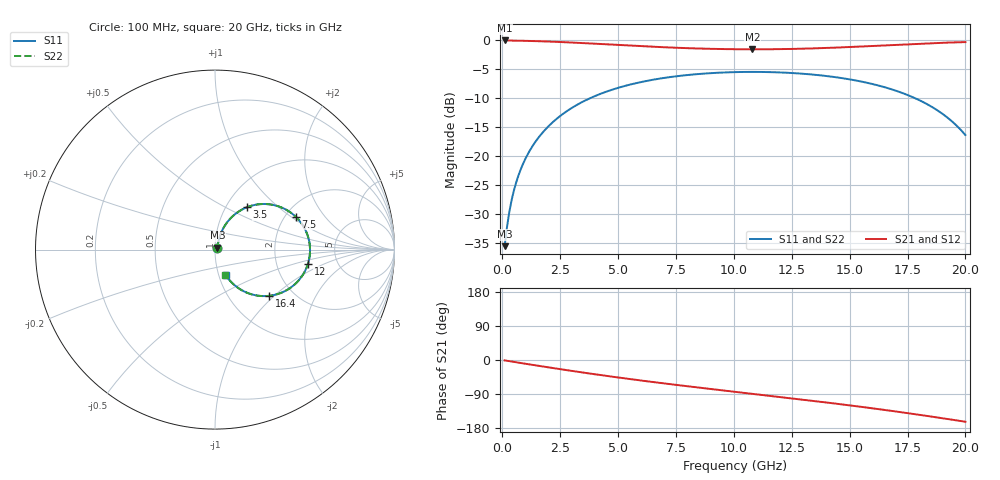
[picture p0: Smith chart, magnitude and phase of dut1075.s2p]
! Touchstone file exported from HFSS 2026.1.0
!  File:  C:/ffzhzh/LocalFiles/Ansys_Project_Files/temp_train_TSV_RDL_1075_1783299730_39728.aedt
!  Generated:  09:12:07 AM Jul  6, 2026
!  Design:  TSV_RDL
!  Project:  temp_train_TSV_RDL_1075_1783299730_39728
! Variables:
!  h_bsmrdl = 2.84um
!  h_ox = 20um
!  h_rdl = 5um
!  h_sub = 89.78um
!  h_tmrdl = 3.41um
!  h_tsv = 89.78um
!  h_via = 3um
!  l_bsmrdl = 503.59um
!  l_sub = 2632.12um
!  l_tmrdl = 145.29um
!  m_sub = 200um
!  pitch = 51.39um
!  r_tsv = 7.49um
!  s_tmrdl = 10um
!  w_bsmrdl = 20.75um
!  w_sub = 500um
!  w_tmrdl = 25.98um
!  x_tsv_center1 = 158.28um
!  x_tsv_center2 = 682.62um
!  x_tsv_center3 = 853.89um
!  x_tsv_center4 = 1378.23um
!  x_tsv_center5 = 1549.5um
!  x_tsv_center6 = 2073.84um
# GHz S MA R 50.000000
! Terminal data exported
! Port[1] = TM_RDL1_1_T1
! Port[2] = TM_RDL5_1_T1
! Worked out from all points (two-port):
!   200 points, 100 MHz to 20 GHz, reference 50 ohm
!   highest |S21| = -0.12 dB at 100 MHz (marker M1); lowest = -1.6 dB at 10.8 GHz (marker M2)
!   |S21| within 3 dB of the highest: start of sweep to end of sweep
!   lowest |S11| = -35.5 dB at 100 MHz (marker M3), VSWR 1.03, Z = 51.4 + j1.01 ohm
!   |S11| at or under -10 dB: start of sweep to 3.814 GHz; 17.8 GHz to end of sweep
!   |S22| runs from -35.5 to -5.5 dB; largest |S21 - S12| = 8.4e-14
!   S11 on the Smith chart (normalised r, x): 100 MHz: 1.03, +0.02; 3.5 GHz: 1.25, +0.64; 7.5 GHz: 2.27, +1.09; 12 GHz: 3.04, -0.67; 16.4 GHz: 1.52, -0.93; 20 GHz: 1.08, -0.31
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0.1  0.01685 35.8  0.9865 -1.0  0.9865 -1.0  0.01685 35.8
! Gamma 0 0 0 0
! Port Impedance 50 0 50 0
0.3  0.03287 60.9  0.9851 -3.1  0.9851 -3.1  0.03287 60.9
0.5  0.05055 67.4  0.9836 -5.0  0.9836 -5.0  0.05055 67.4
0.8  0.07732 70.0  0.981 -8.0  0.981 -8.0  0.07732 70.0
1.1  0.104 69.8  0.978 -10.9  0.978 -10.9  0.104 69.8
1.6  0.1474 67.5  0.9716 -15.7  0.9716 -15.7  0.1474 67.5
2.1  0.1893 64.1  0.9639 -20.4  0.9639 -20.4  0.1893 64.1
2.7  0.2369 59.5  0.9529 -26.0  0.9529 -26.0  0.2369 59.5
3.5  0.2952 53.0  0.9362 -33.3  0.9362 -33.3  0.2952 53.0
5.1  0.3914 40.2  0.9002 -46.9  0.9002 -46.9  0.3914 40.2
6.8  0.4639 27.3  0.8656 -60.4  0.8656 -60.4  0.4639 27.3
7.5  0.4854 22.2  0.8539 -65.6  0.8539 -65.6  0.4854 22.2
10.1  0.5276 4.2  0.829 -84.3  0.829 -84.3  0.5276 4.1
10.8  0.5295 -0.6  0.8277 -89.2  0.8277 -89.2  0.5296 -0.6
12  0.5239 -8.8  0.8309 -97.6  0.8309 -97.6  0.5239 -8.8
13.4  0.5025 -18.4  0.8428 -107.7  0.8428 -107.7  0.5025 -18.5
15  0.457 -29.9  0.866 -119.7  0.866 -119.7  0.457 -30.0
16.4  0.3969 -40.4  0.8923 -130.8  0.8923 -130.8  0.3969 -40.5
16.7  0.3814 -42.8  0.8983 -133.3  0.8983 -133.3  0.3814 -42.8
18.6  0.2615 -57.6  0.9352 -149.9  0.9352 -149.9  0.2615 -57.7
19.4  0.2007 -63.5  0.9478 -157.3  0.9478 -157.3  0.2007 -63.6
20  0.1519 -67.2  0.9552 -162.9  0.9552 -162.9  0.1518 -67.3
